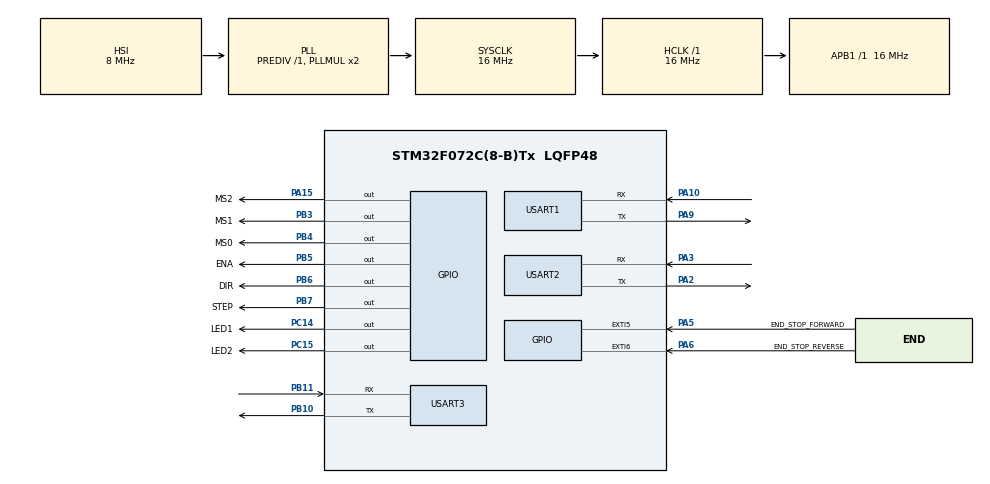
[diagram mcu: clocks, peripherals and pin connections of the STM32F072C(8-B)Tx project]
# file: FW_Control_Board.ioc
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Mcu.Family=STM32F0
Mcu.Name=STM32F072C(8-B)Tx
Mcu.Package=LQFP48
PA10.Mode=Asynchronous
PA10.Signal=USART1_RX
PA13.Mode=Serial_Wire
PA13.Signal=SYS_SWDIO
PA14.Mode=Serial_Wire
PA14.Signal=SYS_SWCLK
PA15.GPIO_Label=MS2
PA15.Signal=GPIO_Output
PA2.Mode=Asynchronous
PA2.Signal=USART2_TX
PA3.Mode=Asynchronous
PA3.Signal=USART2_RX
PA5.GPIO_Label=END_STOP_FORWARD
PA5.Signal=GPXTI5
PA6.GPIO_Label=END_STOP_REVERSE
PA6.Signal=GPXTI6
PA9.Mode=Asynchronous
PA9.Signal=USART1_TX
PB10.Mode=Asynchronous
PB10.Signal=USART3_TX
PB11.Mode=Asynchronous
PB11.Signal=USART3_RX
PB3.GPIO_Label=MS1
PB3.Signal=GPIO_Output
PB4.GPIO_Label=MS0
PB4.Signal=GPIO_Output
PB5.GPIO_Label=ENA
PB5.Signal=GPIO_Output
PB6.GPIO_Label=DIR
PB6.Signal=GPIO_Output
PB7.GPIO_Label=STEP
PB7.Signal=GPIO_Output
PC14-OSC32_IN.GPIO_Label=LED1
PC14-OSC32_IN.Signal=GPIO_Output
PC15-OSC32_OUT.GPIO_Label=LED2
PC15-OSC32_OUT.Signal=GPIO_Output
ProjectManager.HeapSize=0x200
ProjectManager.StackSize=0x400
ProjectManager.TargetToolchain=Makefile
RCC.AHBFreq_Value=16000000
RCC.APB1Freq_Value=16000000
RCC.APB1TimFreq_Value=16000000
RCC.HCLKFreq_Value=16000000
RCC.SYSCLKFreq_VALUE=16000000
RCC.SYSCLKSource=RCC_SYSCLKSOURCE_PLLCLK
USART1.VirtualMode-Asynchronous=VM_ASYNC
USART2.VirtualMode-Asynchronous=VM_ASYNC
USART3.VirtualMode-Asynchronous=VM_ASYNC
board=FW_Control_Board

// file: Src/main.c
/**
  ******************************************************************************
  * @file           : main.c
  * @brief          : Main program body
  ******************************************************************************
  ** This notice applies to any and all portions of this file
  * that are not between comment pairs USER CODE BEGIN and
  * USER CODE END. Other portions of this file, whether
  * inserted by the user or by software development tools
  * are owned by their respective copyright owners.
  *
  * COPYRIGHT(c) 2018 STMicroelectronics
  *
  * Redistribution and use in source and binary forms, with or without modification,
  * are permitted provided that the following conditions are met:
  *   1. Redistributions of source code must retain the above copyright notice,
  *      this list of conditions and the following disclaimer.
  *   2. Redistributions in binary form must reproduce the above copyright notice,
  *      this list of conditions and the following disclaimer in the documentation
  *      and/or other materials provided with the distribution.
  *   3. Neither the name of STMicroelectronics nor the names of its contributors
  *      may be used to endorse or promote products derived from this software
  *      without specific prior written permission.
  *
  * THIS SOFTWARE IS PROVIDED BY THE COPYRIGHT HOLDERS AND CONTRIBUTORS "AS IS"
  * AND ANY EXPRESS OR IMPLIED WARRANTIES, INCLUDING, BUT NOT LIMITED TO, THE
  * IMPLIED WARRANTIES OF MERCHANTABILITY AND FITNESS FOR A PARTICULAR PURPOSE ARE
  * DISCLAIMED. IN NO EVENT SHALL THE COPYRIGHT HOLDER OR CONTRIBUTORS BE LIABLE
  * FOR ANY DIRECT, INDIRECT, INCIDENTAL, SPECIAL, EXEMPLARY, OR CONSEQUENTIAL
  * DAMAGES (INCLUDING, BUT NOT LIMITED TO, PROCUREMENT OF SUBSTITUTE GOODS OR
  * SERVICES; LOSS OF USE, DATA, OR PROFITS; OR BUSINESS INTERRUPTION) HOWEVER
  * CAUSED AND ON ANY THEORY OF LIABILITY, WHETHER IN CONTRACT, STRICT LIABILITY,
  * OR TORT (INCLUDING NEGLIGENCE OR OTHERWISE) ARISING IN ANY WAY OUT OF THE USE
  * OF THIS SOFTWARE, EVEN IF ADVISED OF THE POSSIBILITY OF SUCH DAMAGE.
  *
  ******************************************************************************
  */
#include "main.h"
#include "stm32f0xx_hal.h"

/* USER CODE BEGIN Includes */
#include "globals.hpp"
/* USER CODE END Includes */

UART_HandleTypeDef huart1;
UART_HandleTypeDef huart2;
UART_HandleTypeDef huart3;

/* USER CODE BEGIN PV */
/* Private variables ---------------------------------------------------------*/

/* USER CODE END PV */

void SystemClock_Config(void);
static void MX_GPIO_Init(void);
static void MX_USART1_UART_Init(void);
static void MX_USART2_UART_Init(void);
static void MX_USART3_UART_Init(void);

/* USER CODE BEGIN PFP */
/* Private function prototypes -----------------------------------------------*/

/* USER CODE END PFP */

int main(void)
{

  /* MCU Configuration----------------------------------------------------------*/

  /* Reset of all peripherals, Initializes the Flash interface and the Systick. */
  HAL_Init();

  /* Configure the system clock */
  SystemClock_Config();

  /* Initialize all configured peripherals */
    MX_GPIO_Init();
    MX_USART1_UART_Init();
    MX_USART2_UART_Init();
    MX_USART3_UART_Init();
  /* USER CODE BEGIN 2 */

    uint8_t n_step_divider=32;
    Uart uart(&huart1);
    monochromator.uart = &uart;
    monochromator.uart->receive_it();

    Motor motor(1.8, n_step_divider);
    monochromator.motor = &motor;
    monochromator.end_stop_forward = END_STOP_FORWARD_Pin;
    monochromator.end_stop_reverse = END_STOP_REVERSE_Pin;
    monochromator.Max_Wavelength=3500000;
    monochromator.Min_Wavelength=250000;
    monochromator.step_divider_settings=n_step_divider;
    monochromator.motor->dir(DIRECTION_REVERSE);

    monochromator.uart->print("init ok\n");
  /* USER CODE END 2 */

  /* Infinite loop */
  /* USER CODE BEGIN WHILE */
  while (1)
  {
    if (monochromator.uart->get_rx_flag())
    {
        monochromator.uart->print("Mam data: ");
        monochromator.uart->send_byte(monochromator.uart->rx_buffer[0]);
        monochromator.uart->print("\n");
        buffer_analyze((char*)monochromator.uart->rx_buffer);
        monochromator.uart->clear_rx_flag();
    }
/* USER CODE END WHILE */

  }

}

void SystemClock_Config(void)
{

  RCC_OscInitTypeDef RCC_OscInitStruct;
  RCC_ClkInitTypeDef RCC_ClkInitStruct;
  RCC_PeriphCLKInitTypeDef PeriphClkInit;

    /**Initializes the CPU, AHB and APB busses clocks
    */
  RCC_OscInitStruct.OscillatorType = RCC_OSCILLATORTYPE_HSI;
  RCC_OscInitStruct.HSIState = RCC_HSI_ON;
  RCC_OscInitStruct.HSICalibrationValue = 16;
  RCC_OscInitStruct.PLL.PLLState = RCC_PLL_ON;
  RCC_OscInitStruct.PLL.PLLSource = RCC_PLLSOURCE_HSI;
  RCC_OscInitStruct.PLL.PLLMUL = RCC_PLL_MUL2;
  RCC_OscInitStruct.PLL.PREDIV = RCC_PREDIV_DIV1;
  if (HAL_RCC_OscConfig(&RCC_OscInitStruct) != HAL_OK)
  {
    _Error_Handler(__FILE__, __LINE__);
  }

    /**Initializes the CPU, AHB and APB busses clocks
    */
  RCC_ClkInitStruct.ClockType = RCC_CLOCKTYPE_HCLK|RCC_CLOCKTYPE_SYSCLK
                              |RCC_CLOCKTYPE_PCLK1;
  RCC_ClkInitStruct.SYSCLKSource = RCC_SYSCLKSOURCE_PLLCLK;
  RCC_ClkInitStruct.AHBCLKDivider = RCC_SYSCLK_DIV1;
  RCC_ClkInitStruct.APB1CLKDivider = RCC_HCLK_DIV1;

  if (HAL_RCC_ClockConfig(&RCC_ClkInitStruct, FLASH_LATENCY_0) != HAL_OK)
  {
    _Error_Handler(__FILE__, __LINE__);
  }

  PeriphClkInit.PeriphClockSelection = RCC_PERIPHCLK_USART1|RCC_PERIPHCLK_USART2;
  PeriphClkInit.Usart1ClockSelection = RCC_USART1CLKSOURCE_PCLK1;
  PeriphClkInit.Usart2ClockSelection = RCC_USART2CLKSOURCE_PCLK1;
  if (HAL_RCCEx_PeriphCLKConfig(&PeriphClkInit) != HAL_OK)
  {
    _Error_Handler(__FILE__, __LINE__);
  }

    /**Configure the Systick interrupt time
    */
  HAL_SYSTICK_Config(HAL_RCC_GetHCLKFreq()/1000);

    /**Configure the Systick
    */
  HAL_SYSTICK_CLKSourceConfig(SYSTICK_CLKSOURCE_HCLK);

  /* SysTick_IRQn interrupt configuration */
  HAL_NVIC_SetPriority(SysTick_IRQn, 0, 0);
}

/* USART1 init function */
static void MX_USART1_UART_Init(void)
{

  huart1.Instance = USART1;
  huart1.Init.BaudRate = 38400;
  huart1.Init.WordLength = UART_WORDLENGTH_7B;
  huart1.Init.StopBits = UART_STOPBITS_1;
  huart1.Init.Parity = UART_PARITY_NONE;
  huart1.Init.Mode = UART_MODE_TX_RX;
  huart1.Init.HwFlowCtl = UART_HWCONTROL_NONE;
  huart1.Init.OverSampling = UART_OVERSAMPLING_16;
  huart1.Init.OneBitSampling = UART_ONE_BIT_SAMPLE_DISABLE;
  huart1.AdvancedInit.AdvFeatureInit = UART_ADVFEATURE_NO_INIT;
  if (HAL_UART_Init(&huart1) != HAL_OK)
  {
    _Error_Handler(__FILE__, __LINE__);
  }

}

/* USART2 init function */
static void MX_USART2_UART_Init(void)
{

  huart2.Instance = USART2;
  huart2.Init.BaudRate = 38400;
  huart2.Init.WordLength = UART_WORDLENGTH_7B;
  huart2.Init.StopBits = UART_STOPBITS_1;
  huart2.Init.Parity = UART_PARITY_NONE;
  huart2.Init.Mode = UART_MODE_TX_RX;
  huart2.Init.HwFlowCtl = UART_HWCONTROL_NONE;
  huart2.Init.OverSampling = UART_OVERSAMPLING_16;
  huart2.Init.OneBitSampling = UART_ONE_BIT_SAMPLE_DISABLE;
  huart2.AdvancedInit.AdvFeatureInit = UART_ADVFEATURE_NO_INIT;
  if (HAL_UART_Init(&huart2) != HAL_OK)
  {
    _Error_Handler(__FILE__, __LINE__);
  }

}

/* USART3 init function */
static void MX_USART3_UART_Init(void)
{

  huart3.Instance = USART3;
  huart3.Init.BaudRate = 38400;
  huart3.Init.StopBits = UART_STOPBITS_1;
  huart3.Init.Parity = UART_PARITY_NONE;
  huart3.Init.Mode = UART_MODE_TX_RX;
  huart3.Init.HwFlowCtl = UART_HWCONTROL_NONE;
  huart3.Init.OverSampling = UART_OVERSAMPLING_16;
  huart3.Init.OneBitSampling = UART_ONE_BIT_SAMPLE_DISABLE;
  huart3.AdvancedInit.AdvFeatureInit = UART_ADVFEATURE_NO_INIT;
  if (HAL_UART_Init(&huart3) != HAL_OK)
  {
    _Error_Handler(__FILE__, __LINE__);
  }

}

/** Configure pins as
        * Analog
        * Input
        * Output
        * EVENT_OUT
        * EXTI
*/
static void MX_GPIO_Init(void)
{

  GPIO_InitTypeDef GPIO_InitStruct;

  /* GPIO Ports Clock Enable */
  __HAL_RCC_GPIOC_CLK_ENABLE();
  __HAL_RCC_GPIOA_CLK_ENABLE();
  __HAL_RCC_GPIOB_CLK_ENABLE();

  /*Configure GPIO pin Output Level */
  HAL_GPIO_WritePin(GPIOC, LED1_Pin|LED2_Pin, GPIO_PIN_RESET);

  /*Configure GPIO pin Output Level */
  HAL_GPIO_WritePin(MS2_GPIO_Port, MS2_Pin, GPIO_PIN_RESET);

  /*Configure GPIO pin Output Level */
  HAL_GPIO_WritePin(GPIOB, MS1_Pin|MS0_Pin|ENA_Pin|DIR_Pin
                          |STEP_Pin, GPIO_PIN_RESET);

  /*Configure GPIO pins : LED1_Pin LED2_Pin */
  GPIO_InitStruct.Pin = LED1_Pin|LED2_Pin;
  GPIO_InitStruct.Mode = GPIO_MODE_OUTPUT_PP;
  GPIO_InitStruct.Pull = GPIO_NOPULL;
  GPIO_InitStruct.Speed = GPIO_SPEED_FREQ_LOW;
  HAL_GPIO_Init(GPIOC, &GPIO_InitStruct);

  /*Configure GPIO pins : END_STOP_FORWARD_Pin END_STOP_REVERSE_Pin */
  GPIO_InitStruct.Pin = END_STOP_FORWARD_Pin|END_STOP_REVERSE_Pin;
  GPIO_InitStruct.Mode = GPIO_MODE_IT_RISING;
  GPIO_InitStruct.Pull = GPIO_NOPULL;
  HAL_GPIO_Init(GPIOA, &GPIO_InitStruct);

  /*Configure GPIO pin : MS2_Pin */
  GPIO_InitStruct.Pin = MS2_Pin;
  GPIO_InitStruct.Mode = GPIO_MODE_OUTPUT_PP;
  GPIO_InitStruct.Pull = GPIO_NOPULL;
  GPIO_InitStruct.Speed = GPIO_SPEED_FREQ_LOW;
  HAL_GPIO_Init(MS2_GPIO_Port, &GPIO_InitStruct);

  /*Configure GPIO pins : MS1_Pin MS0_Pin ENA_Pin DIR_Pin
                           STEP_Pin */
  GPIO_InitStruct.Pin = MS1_Pin|MS0_Pin|ENA_Pin|DIR_Pin
                          |STEP_Pin;
  GPIO_InitStruct.Mode = GPIO_MODE_OUTPUT_PP;
  GPIO_InitStruct.Pull = GPIO_NOPULL;
  GPIO_InitStruct.Speed = GPIO_SPEED_FREQ_LOW;
  HAL_GPIO_Init(GPIOB, &GPIO_InitStruct);

}

void _Error_Handler(char *file, int line)
{
  while(1)
  {
  }
}

/************************ (C) COPYRIGHT STMicroelectronics *****END OF FILE****/
